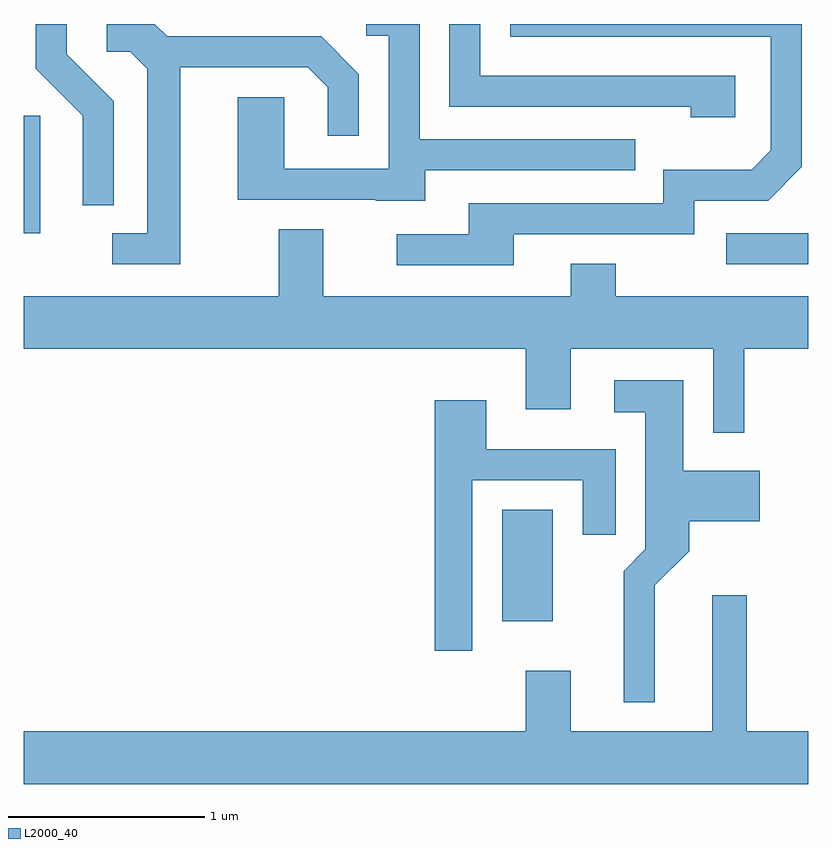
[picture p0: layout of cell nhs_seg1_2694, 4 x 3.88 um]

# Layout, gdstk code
import gdstk
lib = gdstk.Library(unit=1e-6, precision=1e-09)
def R(c, l, rs):  # rectangles x0, y0, x1, y1
    for r in rs: c.add(gdstk.rectangle(r[:2], r[2:], *l))
def P(c, l, *ps):  # polygons
    for p in ps: c.add(gdstk.Polygon(p, *l))
L2000_40 = (2000, 40)

nhs_seg1_2694 = lib.new_cell('nhs_seg1_2694')
R(nhs_seg1_2694, L2000_40, [(270.051,862.666,270.309,863.234), (271.193,864.486,271.611,864.644), (267.611,864.646,267.694,865.244)])
P(nhs_seg1_2694, L2000_40, [(271.239,865.449),(269.939,865.449),(269.939,865.712),(269.781,865.712),(269.781,865.291),(271.011,865.291),(271.011,865.236),(271.239,865.236)],
  [(268.069,865.317),(267.829,865.557),(267.829,865.712),(267.671,865.712),(267.671,865.484),(267.911,865.244),(267.911,864.788),(268.069,864.788)],
  [(270.109,864.641),(271.029,864.641),(271.029,864.811),(271.407,864.811),(271.579,864.984),(271.579,865.712),(270.091,865.712),(270.091,865.646),(271.421,865.646),(271.421,865.067),(271.324,864.969),(270.871,864.969),(270.871,864.799),(269.881,864.799),(269.881,864.639),(269.513,864.639),(269.513,864.481),(270.109,864.481)],
  [(268.409,865.491),(269.059,865.491),(269.161,865.389),(269.161,865.143),(269.319,865.143),(269.319,865.457),(269.127,865.649),(268.342,865.649),(268.279,865.712),(268.033,865.712),(268.033,865.571),(268.154,865.571),(268.241,865.484),(268.241,864.644),(268.063,864.644),(268.063,864.486),(268.409,864.486)],
  [(269.659,864.966),(270.728,864.966),(270.728,865.124),(269.629,865.124),(269.629,865.712),(269.358,865.712),(269.358,865.651),(269.471,865.651),(269.471,864.974),(268.939,864.974),(268.939,865.339),(268.701,865.339),(268.701,864.816),(269.405,864.816),(269.405,864.811),(269.659,864.811)],
  [(271.284,864.056),(271.611,864.056),(271.611,864.324),(270.629,864.324),(270.629,864.489),(270.401,864.489),(270.401,864.324),(269.139,864.324),(269.139,864.664),(268.911,864.664),(268.911,864.324),(267.611,864.324),(267.611,864.056),(270.171,864.056),(270.171,863.746),(270.399,863.746),(270.399,864.056),(271.126,864.056),(271.126,863.628),(271.284,863.628)],
  [(270.829,862.849),(271.004,863.024),(271.004,863.176),(271.364,863.176),(271.364,863.434),(270.974,863.434),(270.974,863.894),(270.623,863.894),(270.623,863.731),(270.781,863.731),(270.781,863.032),(270.671,862.922),(270.671,862.253),(270.829,862.253)],
  [(269.899,863.386),(270.461,863.386),(270.461,863.108),(270.629,863.108),(270.629,863.544),(269.969,863.544),(269.969,863.794),(269.706,863.794),(269.706,862.516),(269.899,862.516)],
  [(271.611,862.104),(271.299,862.104),(271.299,862.799),(271.121,862.799),(271.121,862.104),(270.399,862.104),(270.399,862.414),(270.171,862.414),(270.171,862.104),(267.611,862.104),(267.611,861.836),(271.611,861.836)])

lib.write_gds('nhs_seg1_2694.gds')
